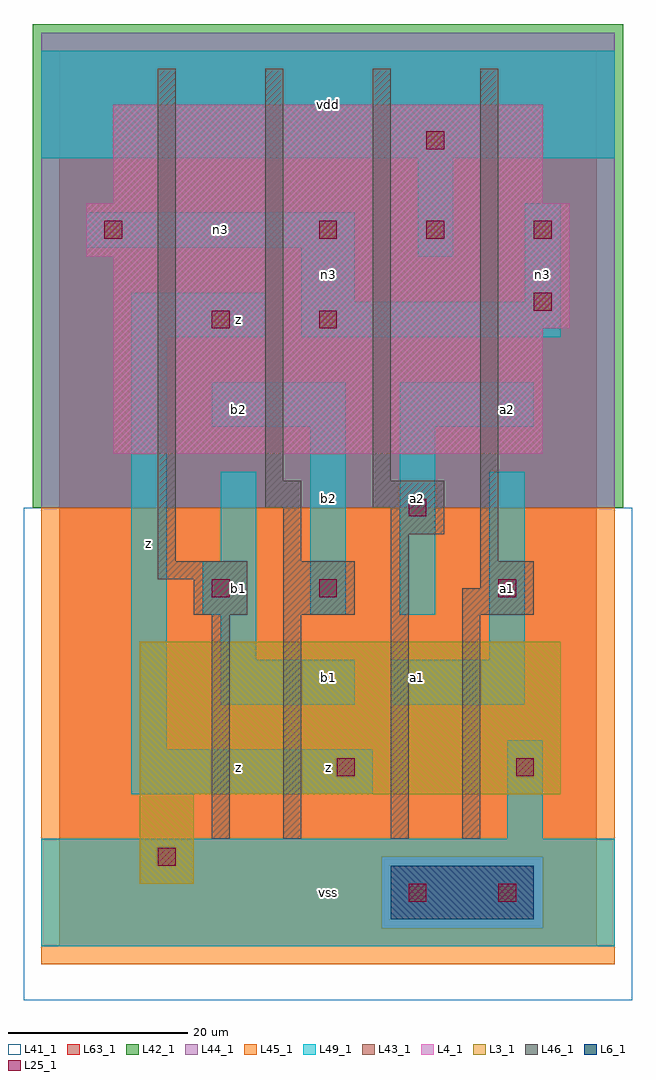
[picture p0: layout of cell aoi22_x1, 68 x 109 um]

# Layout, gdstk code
import gdstk
lib = gdstk.Library(unit=1e-6, precision=1e-09)
def R(c, l, rs):  # rectangles x0, y0, x1, y1
    for r in rs: c.add(gdstk.rectangle(r[:2], r[2:], *l))
def A(c, l, x, y, w, h, nx, ny, dx, dy):  # array of equal rectangles
    R(c, l, [(x+i*dx, y+j*dy, x+i*dx+w, y+j*dy+h) for i in range(nx) for j in range(ny)])
L3_1 = (3, 1)
L4_1 = (4, 1)
L6_1 = (6, 1)
L25_1 = (25, 1)
L41_1 = (41, 1)
L42_1 = (42, 1)
L43_1 = (43, 1)
L44_1 = (44, 1)
L45_1 = (45, 1)
L46_1 = (46, 1)
L49_1 = (49, 1)
L63_1 = (63, 1)

aoi22_x1 = lib.new_cell('aoi22_x1')
R(aoi22_x1, L3_1, [(9,7,15,17), (9,17,56,34)])
R(aoi22_x1, L4_1, [(6,55,54,69), (6,69,57,77), (3,77,57,83), (6,83,54,94)])
R(aoi22_x1, L6_1, [(37,3,53,9)])
A(aoi22_x1, L25_1, 29, 79, 2, 2, 3, 1, 12, 0)
R(aoi22_x1, L25_1, [(39,5,41,7), (49,5,51,7), (11,9,13,11), (31,19,33,21), (51,19,53,21), (17,39,19,41), (29,39,31,41), (49,39,51,41), (39,48,41,50), (17,69,19,71), (29,69,31,71), (53,71,55,73), (5,79,7,81), (41,89,43,91)])
R(aoi22_x1, L41_1, [(-4,-6,64,49), (-3,-3,63,49)])
R(aoi22_x1, L42_1, [(-3,49,63,103)])
R(aoi22_x1, L43_1, [(37,3,53,9), (9,7,15,17), (9,17,56,34), (6,55,54,69), (6,69,57,77), (3,77,57,83), (6,83,54,94)])
R(aoi22_x1, L44_1, [(36,2,54,10), (-2,49,62,102)])
R(aoi22_x1, L45_1, [(-2,-2,62,2), (-2,2,36,10), (54,2,62,10), (-2,10,62,49)])
R(aoi22_x1, L46_1, [(17,12,19,37), (25,12,27,37), (37,12,39,46), (45,12,47,37), (15,37,21,41), (25,37,33,43), (45,37,53,40), (47,40,53,43), (11,41,21,43), (11,43,13,98), (25,43,27,49), (47,43,49,98), (37,46,43,49), (23,49,27,52), (35,49,43,52), (23,52,25,98), (35,52,37,98)])
R(aoi22_x1, L49_1, [(-2,0,62,12), (50,12,54,23), (8,17,35,22), (8,22,12,68), (18,27,33,32), (37,27,52,32), (18,32,22,37), (48,32,52,53), (16,37,22,43), (28,37,32,58), (38,37,42,58), (18,43,22,53), (17,58,32,63), (38,58,53,63), (8,68,23,73), (27,68,56,72), (27,72,33,78), (52,72,56,83), (40,77,44,88), (3,78,33,82), (-2,88,62,100)])
R(aoi22_x1, L63_1, [(0,0,60,100)])
aoi22_x1.add(gdstk.Label('z', (20,20), layer=49, texttype=1))
aoi22_x1.add(gdstk.Label('z', (20,20), layer=49, texttype=1))
aoi22_x1.add(gdstk.Label('b1', (20,40), layer=49, texttype=1))
aoi22_x1.add(gdstk.Label('b1', (20,40), layer=49, texttype=1))
aoi22_x1.add(gdstk.Label('z', (10,45), layer=49, texttype=1))
aoi22_x1.add(gdstk.Label('z', (10,45), layer=49, texttype=1))
aoi22_x1.add(gdstk.Label('b2', (20,60), layer=49, texttype=1))
aoi22_x1.add(gdstk.Label('b2', (20,60), layer=49, texttype=1))
aoi22_x1.add(gdstk.Label('z', (20,70), layer=49, texttype=1))
aoi22_x1.add(gdstk.Label('z', (20,70), layer=49, texttype=1))
aoi22_x1.add(gdstk.Label('vss', (30,6), layer=49, texttype=1))
aoi22_x1.add(gdstk.Label('vss', (30,6), layer=49, texttype=1))
aoi22_x1.add(gdstk.Label('z', (30,20), layer=49, texttype=1))
aoi22_x1.add(gdstk.Label('z', (30,20), layer=49, texttype=1))
aoi22_x1.add(gdstk.Label('b1', (30,30), layer=49, texttype=1))
aoi22_x1.add(gdstk.Label('b1', (30,30), layer=49, texttype=1))
aoi22_x1.add(gdstk.Label('b2', (30,50), layer=49, texttype=1))
aoi22_x1.add(gdstk.Label('b2', (30,50), layer=49, texttype=1))
aoi22_x1.add(gdstk.Label('n3', (30,75), layer=49, texttype=1))
aoi22_x1.add(gdstk.Label('n3', (18,80), layer=49, texttype=1))
aoi22_x1.add(gdstk.Label('vdd', (30,94), layer=49, texttype=1))
aoi22_x1.add(gdstk.Label('vdd', (30,94), layer=49, texttype=1))
aoi22_x1.add(gdstk.Label('a1', (40,30), layer=49, texttype=1))
aoi22_x1.add(gdstk.Label('a1', (40,30), layer=49, texttype=1))
aoi22_x1.add(gdstk.Label('a2', (40,50), layer=49, texttype=1))
aoi22_x1.add(gdstk.Label('a2', (40,50), layer=49, texttype=1))
aoi22_x1.add(gdstk.Label('a1', (50,40), layer=49, texttype=1))
aoi22_x1.add(gdstk.Label('a1', (50,40), layer=49, texttype=1))
aoi22_x1.add(gdstk.Label('a2', (50,60), layer=49, texttype=1))
aoi22_x1.add(gdstk.Label('a2', (50,60), layer=49, texttype=1))
aoi22_x1.add(gdstk.Label('n3', (54,75), layer=49, texttype=1))

lib.write_gds('aoi22_x1.gds')
